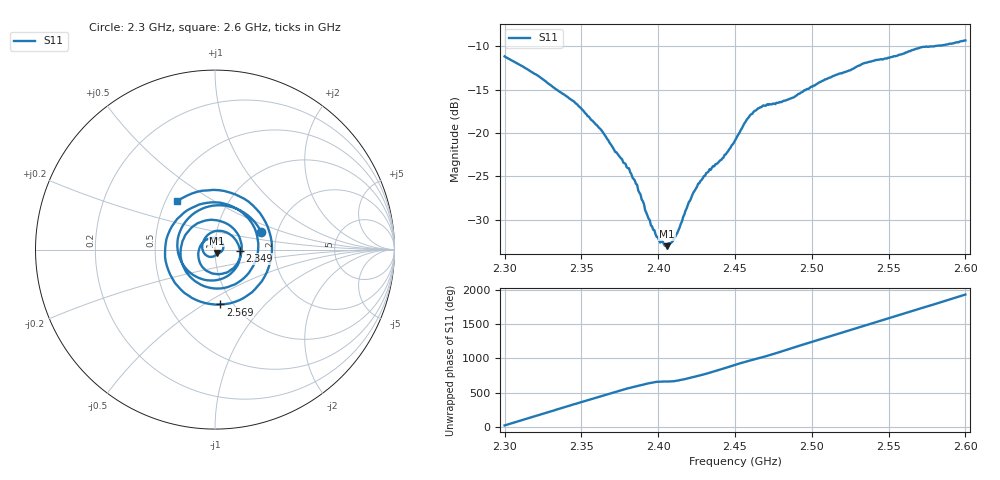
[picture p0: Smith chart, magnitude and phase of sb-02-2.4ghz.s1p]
! NanoVNA-App
! Date: 2026-05-22 17:31:47
! Start: 2.3GHz Stop: 2.6GHz Points: 401
! S-Parameter data: F S11
# Hz S RI R 50
!  Frequency  S11_Real  S11_Imag
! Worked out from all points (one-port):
!   401 points, 2.3 GHz to 2.6 GHz, reference 50 ohm
!   lowest |S11| = -33.0 dB at 2.406 GHz (marker M1), VSWR 1.05, Z = 51.1 - j1.97 ohm
!   |S11| at or under -10 dB: start of sweep to 2.58 GHz
!   S11 on the Smith chart (normalised r, x): 2.3 GHz: 1.65, +0.35; 2.349 GHz: 1.32, -0.02; 2.569 GHz: 0.88, -0.59; 2.6 GHz: 0.58, +0.35
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2.3e9  0.2584 0.0969
2.30975e9  0.0105 0.2469
2.32025e9  -0.2026 0.08
2.33e9  -0.1326 -0.1334
2.3375e9  0.0204 -0.1676
2.3495e9  0.1397 -0.0064
2.3615e9  0.0211 0.105
2.375e9  -0.0713 0.0151
2.40575e9  0.0113 -0.0193
2.4125e9  0.0186 -0.0192
2.426e9  0.0474 0.0192
2.45e9  -0.0903 -0.0053
2.46725e9  0.0518 -0.131
2.47775e9  0.149 0.00264
2.4875e9  0.0536 0.1504
2.49575e9  -0.1105 0.1374
2.5055e9  -0.1882 -0.0554
2.516e9  -0.00565 -0.2164
2.525e9  0.2009 -0.1108
2.53325e9  0.2217 0.1172
2.54375e9  -0.0413 0.2609
2.5535e9  -0.27 0.0609
2.5625e9  -0.1889 -0.2242
2.56925e9  0.03 -0.3055
2.57675e9  0.261 -0.1765
2.5835e9  0.3107 0.07
2.5925e9  0.0814 0.3184
2.6e9  -0.2099 0.2685
